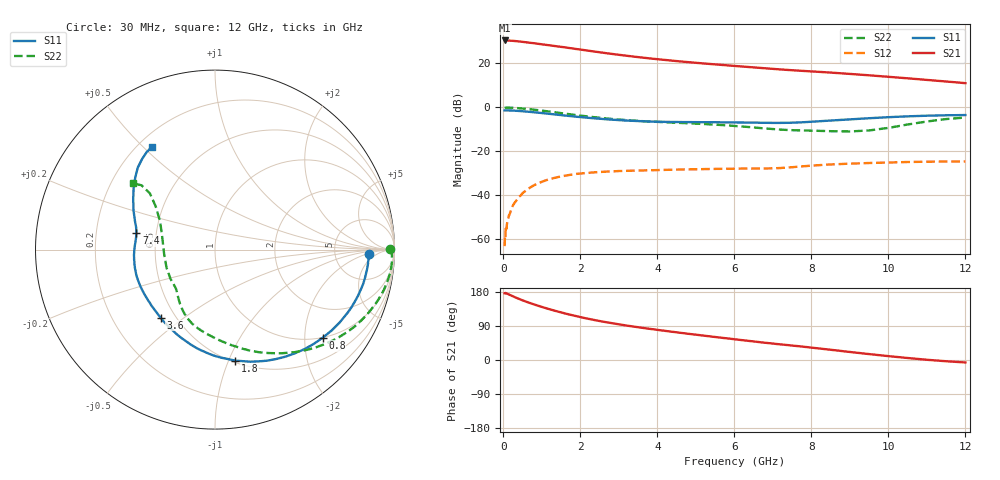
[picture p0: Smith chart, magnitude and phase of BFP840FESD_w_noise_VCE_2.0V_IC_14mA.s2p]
! Infineon Technologies  Discrete & RF Semiconductors
! BFP840FESD
! VCE =  2.0 V,  IC =  14 mA
! Common Emitter S-Parameters:  May 2012
# GHz  S  MA  R  50
!  f  S11  S21  S12  S22
! GHz  MAG  ANG  MAG  ANG  MAG  ANG  MAG  ANG
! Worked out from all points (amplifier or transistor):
!   103 points, 30 MHz to 12 GHz, reference 50 ohm
!   highest |S21| = 30.5 dB at 30 MHz (marker M1)
!   |S21| within 3 dB of that: start of sweep to 1.537 GHz
!   unconditionally stable (mu >= 1): 6.196 GHz to end of sweep
!   at 400 MHz: K = 0.14, MSG = 35.4 dB, |S12| = -40.7 dB
!   at 3.7 GHz: K = 0.63, MSG = 25.6 dB, |S12| = -28.6 dB
!   at 12 GHz: K = 1.12, MAG = 15.7 dB, |S12| = -24.6 dB
!   lowest NFmin = 0.76 dB at 450 MHz
!   S11 on the Smith chart (normalised r, x): 30 MHz: 13, -2; 800 MHz: 0.99, -2.44; 1.8 GHz: 0.52, -1.05; 3.6 GHz: 0.41, -0.41; 7.4 GHz: 0.39, +0.09; 12 GHz: 0.25, +0.53
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0.03  0.8568 -1.5  33.34 176.0  0.0007 52.9  0.9746 0.1
0.04  0.8573 -2.0  33.31 175.7  0.0012 80.7  0.979 -0.4
0.05  0.8552 -2.6  33.34 176.9  0.0011 51.4  0.9832 -0.9
0.07  0.8576 -3.6  33.24 176.2  0.0017 96.5  0.9864 -1.8
0.25  0.8474 -13.1  32.64 167.9  0.006 80.5  0.9792 -9.5
0.45  0.8252 -23.0  31.34 159.3  0.01 74.9  0.9519 -17.0
0.6  0.8048 -30.2  30.21 153.5  0.0132 71.0  0.9255 -22.3
0.8  0.7751 -39.4  28.81 146.5  0.0171 66.6  0.8873 -29.0
1  0.745 -48.2  27.24 140.0  0.0204 61.7  0.846 -35.2
1.3  0.6983 -60.8  25.16 131.0  0.0247 55.5  0.7835 -44.0
1.6  0.6546 -72.6  23.24 122.8  0.028 50.0  0.7231 -52.2
1.8  0.6281 -79.8  21.87 117.9  0.0299 46.6  0.6859 -57.4
2.1  0.5924 -90.0  20.12 110.9  0.032 42.5  0.6368 -64.5
2.7  0.5356 -107.4  16.99 99.2  0.0348 36.1  0.5592 -76.7
3.6  0.4854 -128.7  13.63 85.0  0.0369 30.9  0.4886 -91.1
4.1  0.4716 -138.8  12.26 78.2  0.0378 29.4  0.4644 -97.7
5  0.4629 -154.6  10.35 66.8  0.0392 28.0  0.428 -107.9
6.1  0.4544 -171.5  8.658 53.6  0.0405 27.2  0.3739 -119.9
7.4  0.4478 168.0  7.107 39.2  0.0431 32.0  0.3066 -135.7
8.5  0.5034 154.4  6.197 27.0  0.0505 31.1  0.2884 -159.4
10.5  0.6275 133.3  4.592 5.3  0.0574 25.5  0.409 143.9
12  0.6711 121.8  3.565 -6.5  0.0591 23.7  0.5894 141.1
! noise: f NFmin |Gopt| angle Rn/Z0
0.45  0.76  0.22  4  0.12
0.9  0.78  0.22  11  0.14
1.5  0.8  0.2  17  0.14
1.9  0.8  0.18  27  0.14
2.4  0.81  0.17  37  0.14
3.5  0.81  0.17  61  0.14
5.5  0.86  0.1  123  0.12
8  0.96  0.11  -177  0.13
10  1.08  0.25  -124  0.14
12  1.29  0.41  -109  0.16
